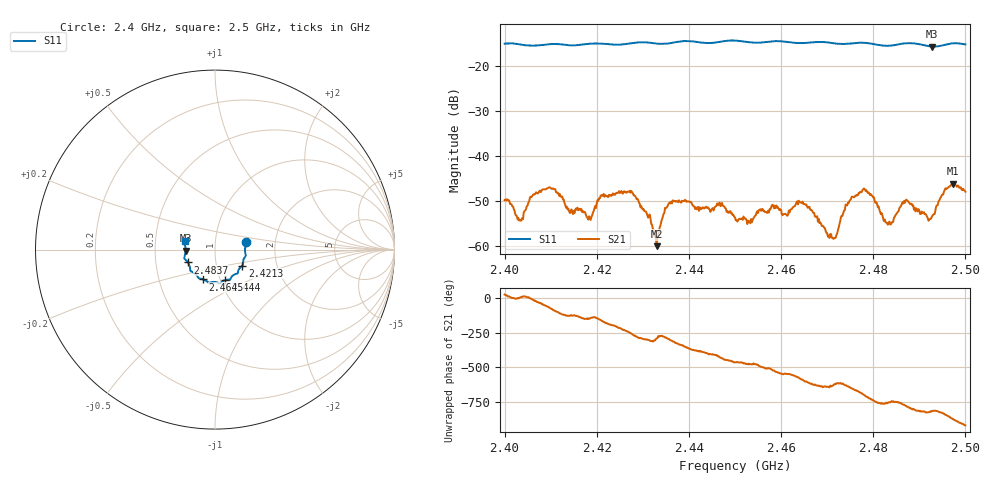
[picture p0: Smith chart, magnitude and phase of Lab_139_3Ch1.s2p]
# Hz S RI R 50
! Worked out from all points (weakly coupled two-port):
!   601 points, 2.4 GHz to 2.5 GHz, reference 50 ohm
!   highest |S21| = -46.15 dB at 2.4973 GHz (marker M1); lowest = -60.0 dB at 2.433 GHz (marker M2)
!   lowest |S11| = -15.7 dB at 2.4928 GHz (marker M3), VSWR 1.39, Z = 35.9 - j0.384 ohm
!   |S11| at or under -10 dB: start of sweep to end of sweep
!   S12 and S22 are empty: the file has one direction only
!   S11 on the Smith chart (normalised r, x): 2.4 GHz: 1.41, +0.12; 2.4213 GHz: 1.33, -0.25; 2.444 GHz: 1.06, -0.37; 2.4645 GHz: 0.83, -0.29; 2.4837 GHz: 0.73, -0.11; 2.5 GHz: 0.71, +0.07
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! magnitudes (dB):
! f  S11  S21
! 2.4 GHz  -15.1  -49.8
! 2.4035 GHz  -15.3  -54.4
! 2.41 GHz  -15.2  -47.1
! 2.4167 GHz  -15.3  -51.8
! 2.4185 GHz  -15.1  -53.8
! 2.4213 GHz  -15.1  -48.9
! 2.4277 GHz  -15.0  -48.1
! 2.433 GHz  -15.1  -60.0
! 2.4333 GHz  -15.1  -57.8
! 2.4362 GHz  -14.9  -50.1
! 2.444 GHz  -15.0  -51.5
! 2.45 GHz  -14.4  -53.6
! 2.4645 GHz  -15.0  -50.5
! 2.4667 GHz  -14.8  -52.0
! 2.4715 GHz  -15.0  -58.3
! 2.4782 GHz  -14.9  -47.4
! 2.4833 GHz  -15.6  -54.8
! 2.4837 GHz  -15.5  -55.2
! 2.4872 GHz  -15.0  -49.7
! 2.4928 GHz  -15.7  -53.2
! 2.4973 GHz  -15.0  -46.2
! 2.5 GHz  -15.3  -47.9
